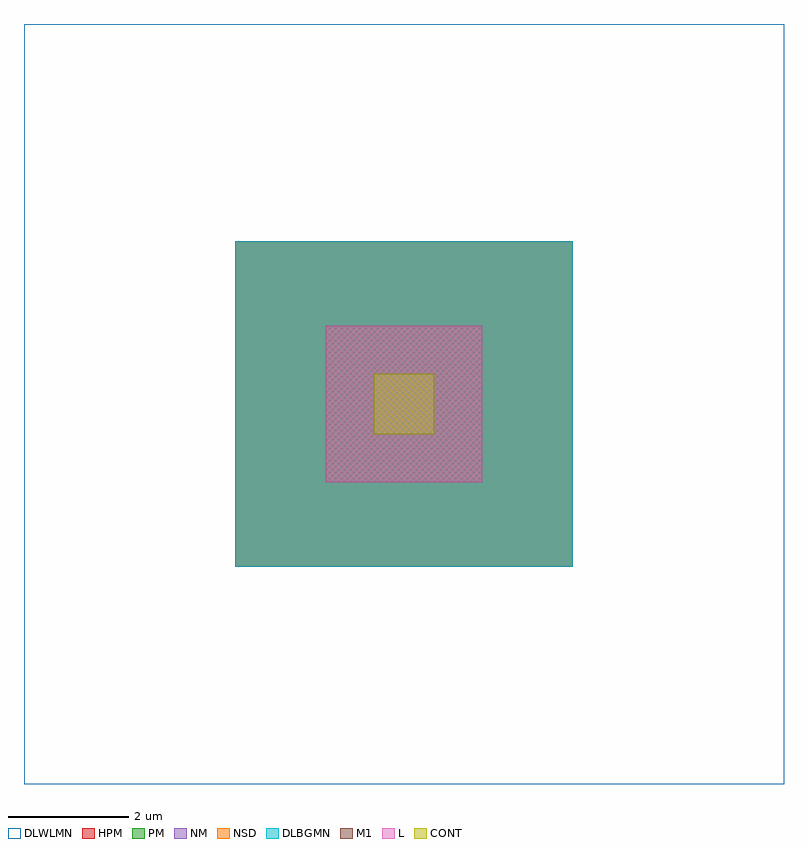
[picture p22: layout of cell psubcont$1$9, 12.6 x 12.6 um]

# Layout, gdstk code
import gdstk
lib = gdstk.Library(unit=1e-6, precision=1e-09)
def R(c, l, rs):  # rectangles x0, y0, x1, y1
    for r in rs: c.add(gdstk.rectangle(r[:2], r[2:], *l))
L = (3, 0)
NM = (7, 0)
CONT = (11, 0)
M1 = (13, 0)
NSD = (28, 0)
HPM = (33, 0)
PM = (35, 0)
DLWLMN = (151, 0)
DLBGMN = (178, 0)

dcont_1_9 = lib.new_cell('DCONT$1$9')
R(dcont_1_9, L, [(-1.3,-1.3,1.3,1.3)])
R(dcont_1_9, CONT, [(-0.5,-0.5,0.5,0.5)])
R(dcont_1_9, M1, [(-1.3,-1.3,1.3,1.3), (-0.5,-0.5,0.5,0.5)])

psubcont_1_9 = lib.new_cell('psubcont$1$9')
R(psubcont_1_9, NM, [(-2.8,-2.7,2.8,2.7)])
R(psubcont_1_9, NSD, [(-2.8,-2.7,2.8,2.7)])
R(psubcont_1_9, HPM, [(-2.8,-2.7,2.8,2.7)])
R(psubcont_1_9, PM, [(-2.8,-2.7,2.8,2.7)])
R(psubcont_1_9, DLWLMN, [(-6.3,-6.3,6.3,6.3)])
R(psubcont_1_9, DLBGMN, [(-2.8,-2.7,2.8,2.7)])
psubcont_1_9.add(gdstk.Reference(dcont_1_9, (0,0)))

lib.write_gds('psubcont_1_9.gds')
